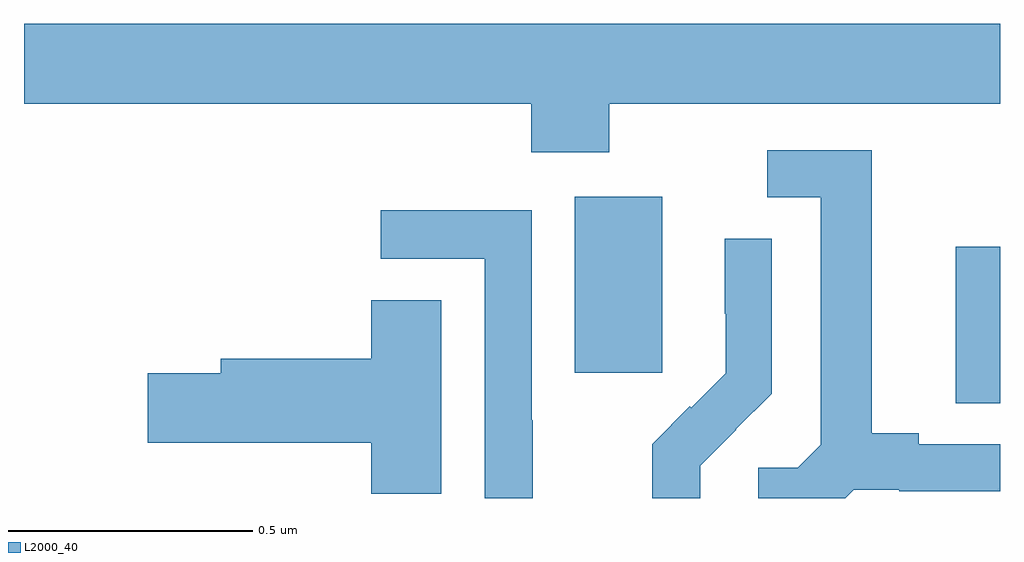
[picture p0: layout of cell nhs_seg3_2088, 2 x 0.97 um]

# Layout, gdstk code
import gdstk
lib = gdstk.Library(unit=1e-6, precision=1e-09)
def R(c, l, rs):  # rectangles x0, y0, x1, y1
    for r in rs: c.add(gdstk.rectangle(r[:2], r[2:], *l))
def P(c, l, *ps):  # polygons
    for p in ps: c.add(gdstk.Polygon(p, *l))
L2000_40 = (2000, 40)

nhs_seg3_2088 = lib.new_cell('nhs_seg3_2088')
R(nhs_seg3_2088, L2000_40, [(137.909,741.595,138,741.915), (137.129,741.657,137.308,742.018)])
P(nhs_seg3_2088, L2000_40, [(137.199,742.208),(138,742.208),(138,742.372),(136,742.372),(136,742.208),(137.039,742.208),(137.039,742.109),(137.199,742.109)],
  [(137.7,741.417),(137.794,741.417),(137.794,741.414),(138,741.414),(138,741.51),(137.833,741.51),(137.833,741.533),(137.737,741.533),(137.737,742.113),(137.523,742.113),(137.523,742.017),(137.633,742.017),(137.633,741.509),(137.586,741.462),(137.505,741.462),(137.505,741.4),(137.683,741.4)],
  [(137.043,741.56),(137.04,741.56),(137.04,741.99),(136.731,741.99),(136.731,741.891),(136.944,741.891),(136.944,741.4),(137.043,741.4)],
  [(137.386,741.466),(137.46,741.54),(137.459,741.541),(137.532,741.614),(137.532,741.932),(137.436,741.932),(137.436,741.778),(137.438,741.778),(137.438,741.656),(137.367,741.585),(137.364,741.588),(137.287,741.511),(137.287,741.4),(137.386,741.4)],
  [(136.855,741.806),(136.712,741.806),(136.712,741.686),(136.403,741.686),(136.403,741.656),(136.254,741.656),(136.254,741.514),(136.712,741.514),(136.712,741.409),(136.855,741.409)])

lib.write_gds('nhs_seg3_2088.gds')
